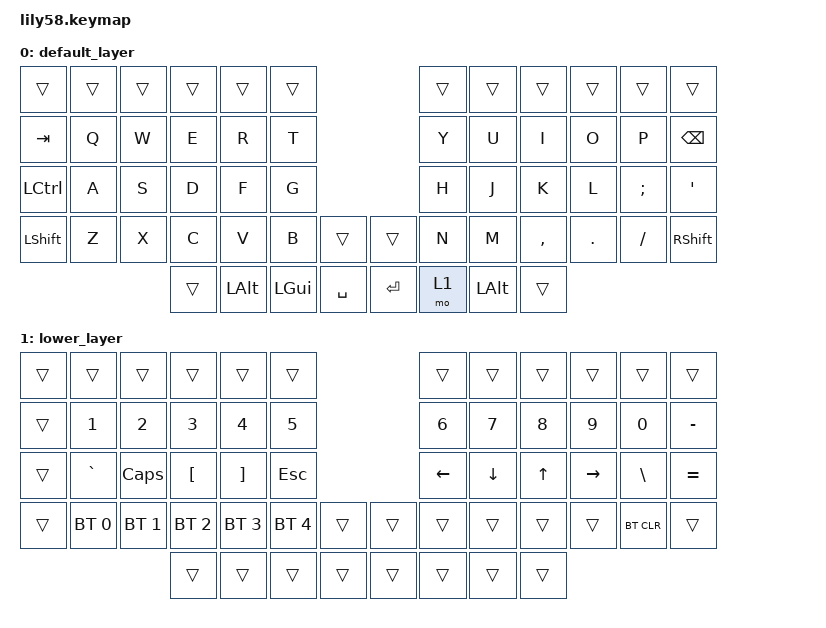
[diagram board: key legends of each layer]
/*
 * Copyright (c) 2020 The ZMK Contributors
 *
 * SPDX-License-Identifier: MIT
 */

#include <behaviors.dtsi>
#include <dt-bindings/zmk/bt.h>
#include <dt-bindings/zmk/ext_power.h>
#include <dt-bindings/zmk/keys.h>

/ {
	keymap {
		compatible = "zmk,keymap";

		default_layer {
			bindings = <
//  ╭────────────┬────────────┬────────────┬────────────┬────────────┬────────────╮                         ╭────────────┬────────────┬────────────┬────────────┬────────────┬────────────╮
//  │            │            │            │            │            │            │                         │            │            │            │            │            │            │
        &trans       &trans       &trans       &trans       &trans       &trans                                 &trans       &trans       &trans       &trans       &trans       &trans
//  ├────────────┼────────────┼────────────┼────────────┼────────────┼────────────┤                         ├────────────┼────────────┼────────────┼────────────┼────────────┼────────────┤
//  │    TAB     │      Q     │      W     │      E     │      R     │      T     │                         │     Y      │     U      │     I      │     O      │     P      │    BSPC    │
       &kp TAB        &kp Q        &kp W        &kp E        &kp R        &kp T                                 &kp Y         &kp U       &kp I        &kp O        &kp P       &kp BSPC
//  ├────────────┼────────────┼────────────┼────────────┼────────────┼────────────┤                         ├────────────┼────────────┼────────────┼────────────┼────────────┼────────────┤
//  │   LCTRL    │      A     │      S     │      D     │      F     │      G     │                         │     H      │     J      │     K      │     L      │     ;      │      '     │
       &kp LCTRL      &kp A        &kp S        &kp D        &kp F        &kp G                                 &kp H        &kp J        &kp K        &kp L       &kp SEMI      &kp SQT
//  ├────────────┼────────────┼────────────┼────────────┼────────────┼────────────┼────────────┬────────────┼────────────┼────────────┼────────────┼────────────┼────────────┼────────────┤
//  │   LSHFT    │      Z     │      X     │      C     │      V     │      B     │            │            │     N      │     M      │     ,      │     .      │     /      │    RSHFT   │
       &kp LSHFT      &kp Z        &kp X        &kp C        &kp V        &kp B       &trans       &trans       &kp N        &kp M       &kp COMMA     &kp DOT     &kp FSLH     &kp RSHFT
//  ╰────────────┴────────────┴────────────┼────────────┼────────────┼────────────┼────────────┼────────────┼────────────┼────────────┼────────────┼────────────┴────────────┴────────────╯
//                                         │            │    LALT    │    LGUI    │    SPACE   │   ENTER    │    LWR     │    LALT    │            │
                                               &trans      &kp LALT     &kp LGUI    &kp SPACE      &kp RET      &mo 1       &kp LALT      &trans
//                                         ╰────────────┴────────────┴────────────┴────────────┴────────────┴────────────┴────────────┴────────────╯
			>;
		};

		lower_layer {
			bindings = <
//  ╭────────────┬────────────┬────────────┬────────────┬────────────┬────────────╮                         ╭────────────┬────────────┬────────────┬────────────┬────────────┬────────────╮
//  │            │            │            │            │            │            │                         │            │            │            │            │            │            │
        &trans       &trans       &trans       &trans       &trans       &trans                                 &trans       &trans       &trans       &trans       &trans       &trans
//  ├────────────┼────────────┼────────────┼────────────┼────────────┼────────────┤                         ├────────────┼────────────┼────────────┼────────────┼────────────┼────────────┤
//  │            │      1     │      2     │      3     │      4     │      5     │                         │     6      │     7      │     8      │     9      │     0      │     -      │
        &trans       &kp N1       &kp N2       &kp N3       &kp N4       &kp N5                                &kp N6       &kp N7       &kp N8       &kp N9       &kp N0       &kp MINUS
//  ├────────────┼────────────┼────────────┼────────────┼────────────┼────────────┤                         ├────────────┼────────────┼────────────┼────────────┼────────────┼────────────┤
//  │            │     `      │    CAPS    │     [      │     ]      │    ESC     │                         │     ←      │     ↓      │     ↑      │     →      │     \      │     =      │
        &trans     &kp GRAVE     &kp CAPS     &kp LBKT     &kp RBKT     &kp ESC                                &kp LEFT     &kp DOWN      &kp UP     &kp RIGHT     &kp BSLH     &kp EQUAL
//  ├────────────┼────────────┼────────────┼────────────┼────────────┼────────────┼────────────┬────────────┼────────────┼────────────┼────────────┼────────────┼────────────┼────────────┤
//  │            │     BT0    │     BT1    │     BT2    │     BT3    │     BT4    │                         │            │            │            │            │   BTCLR    │            │
        &trans    &bt BT_SEL 0 &bt BT_SEL 1 &bt BT_SEL 2 &bt BT_SEL 3 &bt BT_SEL 4    &trans       &trans       &trans       &trans       &trans       &trans     &bt BT_CLR     &trans
//  ╰────────────┴────────────┴────────────┼────────────┼────────────┼────────────┼────────────┼────────────┼────────────┼────────────┼────────────┼────────────┴────────────┴────────────╯
//                                         │            │            │            │            │            │            │            │            │
                                               &trans       &trans       &trans       &trans       &trans       &trans       &trans       &trans
//                                         ╰────────────┴────────────┴────────────┴────────────┴────────────┴────────────┴────────────┴────────────╯
			>;
		};
	};
};
